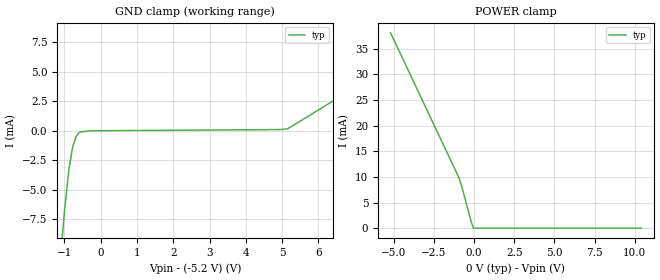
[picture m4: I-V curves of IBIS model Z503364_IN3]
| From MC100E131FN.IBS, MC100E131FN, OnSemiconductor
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| (C) COPYRIGHT 1993-2000
| MENTOR GRAPHICS CORPORATION
| ICX STANDARD LIBRARY, ICX PROJECT MODELING,
| ICX CUSTOM MODELING, ICX VENDOR MODEL
| ALL RIGHTS RESERVED.
| THE FOLLOWING ARE TRADEMARKS OR SERVICE MARKS OF
| MENTOR GRAPHICS CORPORATION:ICX (R), ICX STANDARD
| LIBRARY(R), ICX PROJECT MODELING(R), ICX CUSTOM
| MODELING(R), qualityIBIS(TM), MODELVIEWER(TM),
| AND MODELEDITOR(TM)
| ALL COPIES OF SOFTWARE, INCLUDING BUT NOT LIMITED TO
| ANY MODIFICATIONS, ENHANCEMENTS OR DERIVATIVE WORKS,
| MUST CONTAIN ALL MENTOR GRAPHICS CORPORATION'S
| NOTICES AND LEGENDS, INCLUDING THOSE EMBEDDED IN
| SOFTWARE AND THOSE AFFIXED TO SOFTWARE MEDIUM
| AND CONTAINER, AS RECEIVED FROM MENTOR GRAPHICS
| CORPORATION.
| Model Application Version 1.89 2/18/99.
[Model] Z503364_IN3
Model_type Input_ECL
Vinl = -1.475V
Vinh = -1.165V
C_comp 4.000pF NA NA
| variable typ   min   max
[Voltage Range] -5.200V NA NA
[GND Clamp Reference] -5.200V NA NA
[POWER Clamp Reference] 0.000V NA NA
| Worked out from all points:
|   GND clamp passes 1 mA (typ) near -0.73 V on its own axis
|   POWER clamp passes 1 mA (typ) near -0.15 V on its own axis
[GND Clamp]
-5.2V     -277.6mA   NA         NA
-1.236V   -17.05mA   NA         NA
-1.1V     -10.54mA   NA         NA
-997mV    -6.733mA   NA         NA
-874mV    -3.225mA   NA         NA
-775mV    -1.407mA   NA         NA
-682mV    -531.4uA   NA         NA
-587mV    -141.4uA   NA         NA
-293.5mV  -22.15uA   NA         NA
4.913V    79.27uA    NA         NA
5.151V    140.9uA    NA         NA
10.4V     10.05mA    NA         NA
[POWER Clamp]
-5.2V     38.09mA    NA         NA
-928.2mV  9.734mA    NA         NA
-766.9mV  8.118mA    NA         NA
-174mV    1.19mA     NA         NA
-63.48mV  229.2uA    NA         NA
-31.74mV  0A         NA         NA
10.4V     0A         NA         NA
